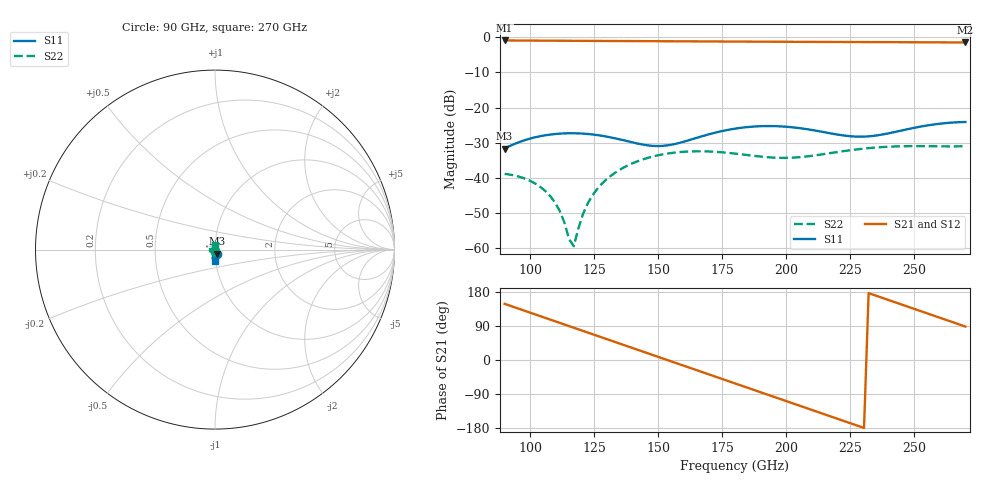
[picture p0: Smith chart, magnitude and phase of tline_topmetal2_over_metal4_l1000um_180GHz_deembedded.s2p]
! Created with skrf 2.0.1 (http://scikit-rf.org).
# GHz S DB R 50.0
!freq dBS11 angS11 dBS21 angS21 dBS12 angS12 dBS22 angS22
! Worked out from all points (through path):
!   101 points, 90 GHz to 270 GHz, reference 50 ohm
!   highest |S21| = -0.86 dB at 90 GHz (marker M1); lowest = -1.4 dB at 270 GHz (marker M2)
!   group delay of S21, straight-line fit = 6.48 ps
!   lowest |S11| = -31.7 dB at 90 GHz (marker M3), VSWR 1.05, Z = 51.2 - j2.34 ohm
!   |S11| at or under -10 dB: start of sweep to end of sweep
!   |S22| runs from -59.5 to -31.0 dB; largest |S21 - S12| = 1e-13
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90  -31.69 -61.2  -0.86 148.2  -0.86 148.2  -38.92 -101.6
99  -29.05 -68.9  -0.90 127.2  -0.90 127.2  -40.57 -117.3
106.2  -27.88 -77.9  -0.92 110.4  -0.92 110.4  -44.01 -130.5
111.6  -27.43 -85.0  -0.94 97.8  -0.94 97.8  -49.57 -135.4
115.2  -27.33 -89.6  -0.96 89.4  -0.96 89.4  -57.57 -113.2
117  -27.33 -91.8  -0.96 85.2  -0.96 85.2  -59.54 -57.9
120.6  -27.43 -96.0  -0.98 76.8  -0.98 76.8  -50.41 -15.7
124.2  -27.66 -99.7  -0.99 68.4  -0.99 68.4  -45.18 -16.7
131.4  -28.51 -104.9  -1.01 51.6  -1.01 51.6  -39.52 -32.0
142.2  -30.30 -103.4  -1.05 26.4  -1.05 26.4  -35.25 -61.9
151.2  -30.95 -91.5  -1.08 5.4  -1.08 5.4  -33.43 -89.5
158.4  -30.06 -81.6  -1.10 -11.4  -1.10 -11.4  -32.70 -113.1
165.6  -28.52 -77.7  -1.13 -28.2  -1.13 -28.2  -32.47 -138.3
180  -26.02 -83.9  -1.18 -61.8  -1.18 -61.8  -33.13 164.7
194.4  -25.28 -96.5  -1.22 -95.3  -1.22 -95.3  -34.25 95.1
201.6  -25.57 -102.1  -1.24 -112.1  -1.24 -112.1  -34.32 56.3
210.6  -26.47 -106.2  -1.27 -133.1  -1.27 -133.1  -33.71 8.1
219.6  -27.65 -104.5  -1.29 -154.1  -1.29 -154.1  -32.73 -36.6
226.8  -28.27 -97.9  -1.31 -170.9  -1.31 -170.9  -32.00 -70.1
241.2  -27.16 -83.4  -1.35 155.5  -1.35 155.5  -31.13 -134.4
255.6  -25.05 -83.4  -1.39 121.8  -1.39 121.8  -31.01 160.2
270  -24.12 -91.0  -1.43 88.2  -1.43 88.2  -31.02 90.2
